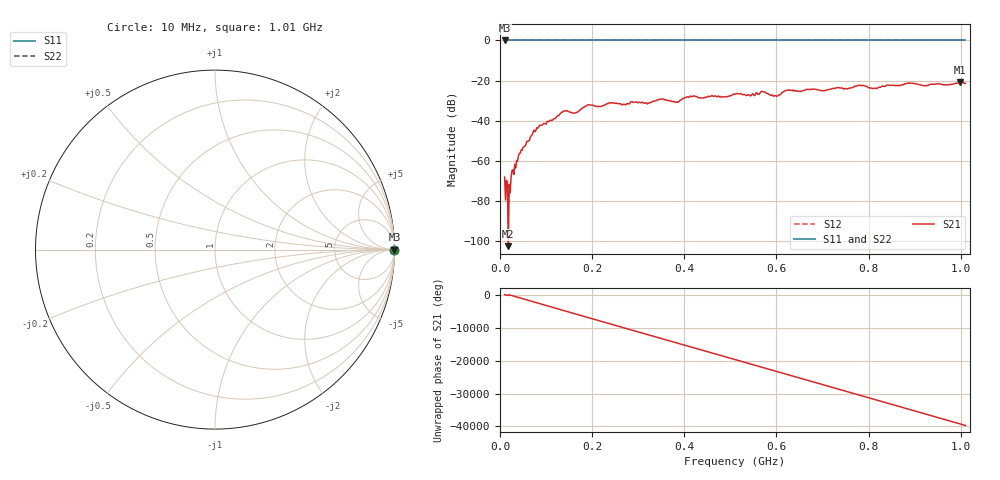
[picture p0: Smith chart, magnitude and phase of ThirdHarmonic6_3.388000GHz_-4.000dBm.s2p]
! 8/17/2025 10:47:16 AM
! C:\ANRITSUVNA\TEMP\TEMP.S2P
! CHANNEL.1
! TR.MEASUREMENT
! RAW.DATA
! RF.CORRECTION.OFF
! AVERAGING.OFF
! IF.BANDWIDTH: 5KHZ
! SWEEPTYPE:  FREQ.SWEEP(Linear)
! Reference Plane Port Info
! PORT:  PORT1  PORT2
! DISTANCE:  0  m  0  m
! TIME:  0  s  0  s
! PHASE.OFFSET:  0  deg.  0  deg.
! LOSS:  0  dB  0  dB
! REF.LOSS:  0  dB  0  dB
! REF.FREQ:  0  Hz  0  Hz
! Power Info
! POWER:  -20  dBm  -20  dBm
! EFF.POWER:  -20  dBm  -20  dBm
! SOURCE.ATTEN:  0  dB  0  dB
! TEST.ATTEN:  0  dB  0  dB
# GHZ S RI R 50.0
! FREQ.GHZ  S11RE  S11IM  S21RE  S21IM  S12RE  S12IM  S22RE  S22IM
!; PortSelection: Port_12
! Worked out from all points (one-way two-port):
!   501 points, 10 MHz to 1.01 GHz, reference 50 ohm
!   highest |S21| = -20.77 dB at 998 MHz (marker M1); lowest = -102.6 dB at 18 MHz (marker M2)
!   lowest |S11| = 0.0 dB at 10 MHz (marker M3)
!   |S11| at or under -10 dB: nowhere
!   |S22| runs from 0.0 to 0.0 dB; largest |S21 - S12| = 1.1
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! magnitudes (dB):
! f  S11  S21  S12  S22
! 10 MHz  0.0  -68.1  0.0  0.0
! 14 MHz  0.0  -69.7  0.0  0.0
! 18 MHz  0.0  -102.6  0.0  0.0
! 22 MHz  0.0  -76.0  0.0  0.0
! 28 MHz  0.0  -64.5  0.0  0.0
! 44 MHz  0.0  -56.2  0.0  0.0
! 76 MHz  0.0  -45.6  0.0  0.0
! 136 MHz  0.0  -35.7  0.0  0.0
! 162 MHz  0.0  -36.2  0.0  0.0
! 178 MHz  0.0  -33.8  0.0  0.0
! 192 MHz  0.0  -32.2  0.0  0.0
! 344 MHz  0.0  -29.7  0.0  0.0
! 384 MHz  0.0  -30.7  0.0  0.0
! 416 MHz  0.0  -28.0  0.0  0.0
! 510 MHz  0.0  -26.7  0.0  0.0
! 570 MHz  0.0  -25.4  0.0  0.0
! 598 MHz  0.0  -27.6  0.0  0.0
! 624 MHz  0.0  -24.8  0.0  0.0
! 678 MHz  0.0  -24.3  0.0  0.0
! 844 MHz  0.0  -22.3  0.0  0.0
! 998 MHz  0.0  -20.8  0.0  0.0
! 1.01 GHz  0.0  -21.4  0.0  0.0
